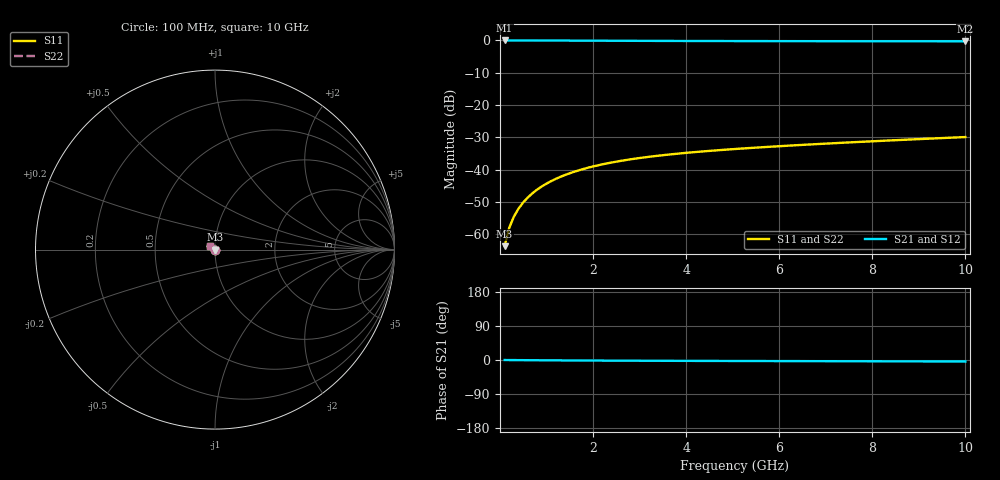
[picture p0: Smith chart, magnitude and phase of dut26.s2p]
! Touchstone file exported from HFSS 2024.1.0
!  File:  C:/UserFiles/LocalFiles/RDL_TSV_Batchsim/temp_TSV1_26_1779369515.aedt
!  Generated:  09:25:22 PM May 21, 2026
!  Design:  TSV1
!  Project:  temp_TSV1_26_1779369515
!  Setup:  Setup1
!  Solution:  Sweep
! Variables:
!  dtsv = 7.91um
!  hbump = 3um
!  htsv = 55.5um
!  lrdl = 252.1521522um
!  p = 40
!  p1 = 57.33um
!  t = 500um
!  trdl = 3um
!  wrdl = 24.89489489um
# GHz S MA R 50.000000
! Terminal data exported
! Port[1] = TSV22_T1
! Port[2] = TSV22_T2
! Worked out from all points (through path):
!   100 points, 100 MHz to 10 GHz, reference 50 ohm
!   highest |S21| = 0.00 dB at 100 MHz (marker M1); lowest = -0.3 dB at 10 GHz (marker M2)
!   lowest |S11| = -63.8 dB at 100 MHz (marker M3), VSWR 1.00, Z = 50 - j0.0628 ohm
!   |S11| at or under -10 dB: start of sweep to end of sweep
!   |S22| runs from -63.8 to -29.9 dB; largest |S21 - S12| = 5.4e-15
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0.1  0.0006484 -75.7  0.9998 -0.1  0.9998 -0.1  0.0006484 -75.7
! Gamma 0 0 0 0
! Port Impedance 50 0 50 0
0.2  0.001255 -86.3  0.9997 -0.2  0.9997 -0.2  0.001255 -86.3
0.3  0.001868 -91.6  0.9996 -0.3  0.9996 -0.3  0.001868 -91.6
0.4  0.002481 -95.4  0.9994 -0.3  0.9994 -0.3  0.002481 -95.4
0.5  0.00309 -98.6  0.9991 -0.4  0.9991 -0.4  0.00309 -98.6
0.6  0.003695 -101.6  0.9988 -0.5  0.9988 -0.5  0.003695 -101.6
0.7  0.004294 -104.3  0.9985 -0.6  0.9985 -0.6  0.004294 -104.3
0.8  0.004886 -106.9  0.9981 -0.7  0.9981 -0.7  0.004886 -106.9
0.9  0.005469 -109.4  0.9977 -0.8  0.9977 -0.8  0.005469 -109.4
1.1  0.006607 -114.2  0.9968 -0.9  0.9968 -0.9  0.006607 -114.2
1.4  0.00823 -121.0  0.9952 -1.1  0.9952 -1.1  0.00823 -121.0
1.6  0.009251 -125.3  0.9941 -1.2  0.9941 -1.2  0.009251 -125.3
1.8  0.01022 -129.4  0.9929 -1.4  0.9929 -1.4  0.01022 -129.4
2.1  0.01158 -135.3  0.9912 -1.5  0.9912 -1.5  0.01158 -135.3
2.5  0.01323 -142.6  0.9888 -1.7  0.9888 -1.7  0.01323 -142.6
2.9  0.01471 -149.3  0.9867 -1.9  0.9867 -1.9  0.01471 -149.3
3.4  0.01635 -157.0  0.9842 -2.1  0.9842 -2.1  0.01635 -157.0
4.2  0.01864 -167.7  0.9808 -2.3  0.9808 -2.3  0.01864 -167.7
5.1  0.02089 -177.9  0.9779 -2.6  0.9779 -2.6  0.02089 -177.9
6.7  0.02452 167.5  0.9743 -3.0  0.9743 -3.0  0.02452 167.5
8.4  0.02825 155.7  0.9719 -3.5  0.9719 -3.5  0.02825 155.7
10  0.03185 146.9  0.9703 -4.0  0.9703 -4.0  0.03185 146.9
